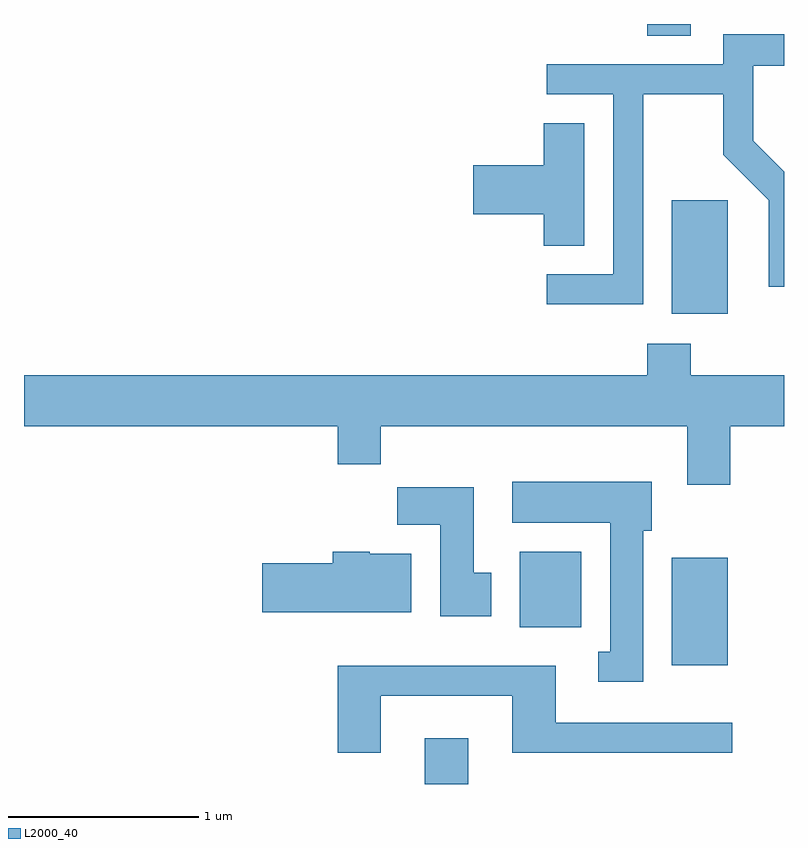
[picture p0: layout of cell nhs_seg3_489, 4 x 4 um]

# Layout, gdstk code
import gdstk
lib = gdstk.Library(unit=1e-6, precision=1e-09)
def R(c, l, rs):  # rectangles x0, y0, x1, y1
    for r in rs: c.add(gdstk.rectangle(r[:2], r[2:], *l))
def P(c, l, *ps):  # polygons
    for p in ps: c.add(gdstk.Polygon(p, *l))
L2000_40 = (2000, 40)

nhs_seg3_489 = lib.new_cell('nhs_seg3_489')
R(nhs_seg3_489, L2000_40, [(201.721,1141.892,201.949,1142.134), (203.021,1142.516,203.314,1143.084), (202.221,1142.716,202.544,1143.114), (203.021,1144.366,203.314,1144.964), (202.891,1145.831,203.119,1145.892)])
P(nhs_seg3_489, L2000_40, [(202.869,1145.521),(203.291,1145.521),(203.291,1145.204),(203.531,1144.964),(203.531,1144.508),(203.611,1144.508),(203.611,1145.115),(203.449,1145.277),(203.449,1145.671),(203.611,1145.671),(203.611,1145.839),(203.291,1145.839),(203.291,1145.679),(202.363,1145.679),(202.363,1145.521),(202.711,1145.521),(202.711,1144.574),(202.363,1144.574),(202.363,1144.416),(202.869,1144.416)],
  [(202.559,1145.369),(202.346,1145.369),(202.346,1145.149),(201.976,1145.149),(201.976,1144.891),(202.346,1144.891),(202.346,1144.726),(202.559,1144.726)],
  [(203.329,1143.776),(203.611,1143.776),(203.611,1144.044),(203.119,1144.044),(203.119,1144.209),(202.891,1144.209),(202.891,1144.044),(199.611,1144.044),(199.611,1143.776),(201.261,1143.776),(201.261,1143.576),(201.489,1143.576),(201.489,1143.776),(203.101,1143.776),(203.101,1143.466),(203.329,1143.466)],
  [(202.869,1143.226),(202.914,1143.226),(202.914,1143.484),(202.181,1143.484),(202.181,1143.266),(202.696,1143.266),(202.696,1142.589),(202.633,1142.589),(202.633,1142.431),(202.869,1142.431)],
  [(202.069,1143.004),(201.979,1143.004),(201.979,1143.454),(201.576,1143.454),(201.576,1143.256),(201.801,1143.256),(201.801,1142.776),(202.069,1142.776)],
  [(201.649,1143.104),(201.43,1143.104),(201.43,1143.114),(201.236,1143.114),(201.236,1143.054),(200.866,1143.054),(200.866,1142.796),(201.649,1142.796)],
  [(201.489,1142.356),(202.181,1142.356),(202.181,1142.056),(203.338,1142.056),(203.338,1142.214),(202.409,1142.214),(202.409,1142.514),(201.261,1142.514),(201.261,1142.056),(201.489,1142.056)])

lib.write_gds('nhs_seg3_489.gds')
